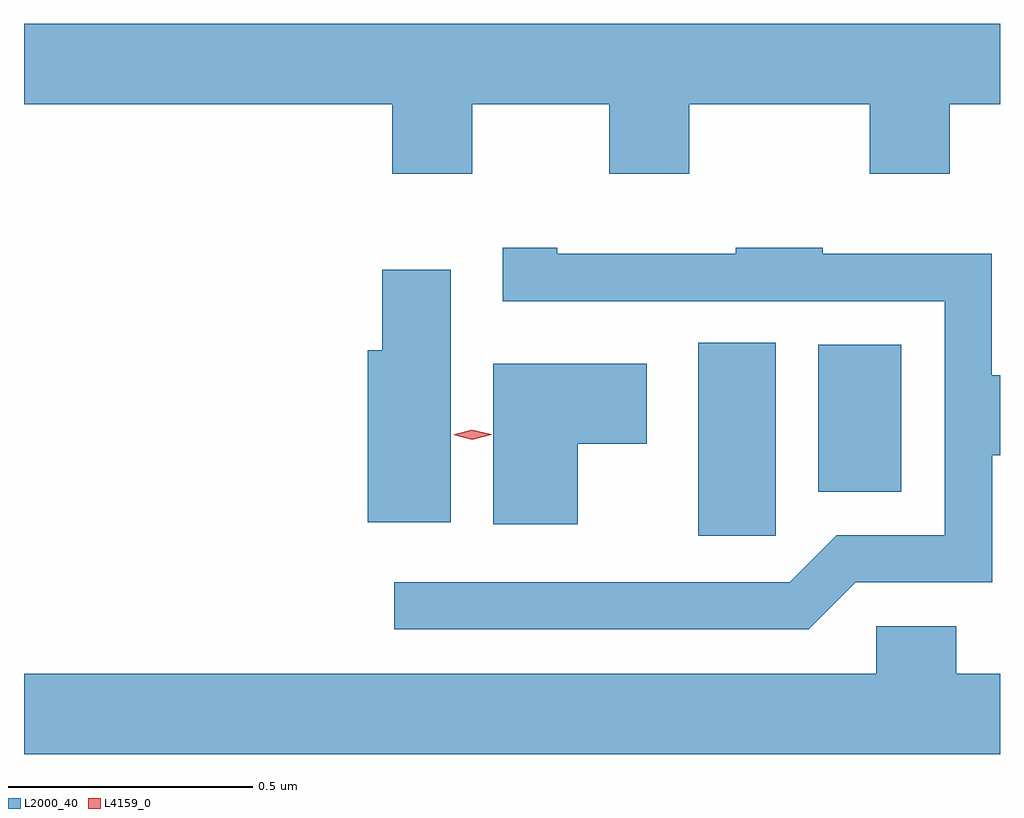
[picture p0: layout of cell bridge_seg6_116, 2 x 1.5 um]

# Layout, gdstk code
import gdstk
lib = gdstk.Library(unit=1e-6, precision=1e-09)
def R(c, l, rs):  # rectangles x0, y0, x1, y1
    for r in rs: c.add(gdstk.rectangle(r[:2], r[2:], *l))
def P(c, l, *ps):  # polygons
    for p in ps: c.add(gdstk.Polygon(p, *l))
L2000_40 = (2000, 40)
L4159_0 = (4159, 0)

bridge_seg6_116 = lib.new_cell('bridge_seg6_116')
R(bridge_seg6_116, L2000_40, [(459.254,985.079,459.412,985.475), (459.5,985.169,459.67,985.471)])
P(bridge_seg6_116, L2000_40, [(458.791,985.964),(459.071,985.964),(459.071,985.821),(459.235,985.821),(459.235,985.964),(459.605,985.964),(459.605,985.821),(459.769,985.821),(459.769,985.964),(459.872,985.964),(459.872,986.128),(457.872,986.128),(457.872,985.964),(458.627,985.964),(458.627,985.821),(458.791,985.821)],
  [(459.576,984.984),(459.856,984.984),(459.856,985.244),(459.872,985.244),(459.872,985.408),(459.855,985.408),(459.855,985.657),(459.509,985.657),(459.509,985.669),(459.331,985.669),(459.331,985.657),(458.965,985.657),(458.965,985.669),(458.853,985.669),(458.853,985.56),(459.759,985.56),(459.759,985.08),(459.537,985.08),(459.441,984.984),(458.631,984.984),(458.631,984.888),(459.48,984.888)],
  [(458.746,985.624),(458.606,985.624),(458.606,985.459),(458.576,985.459),(458.576,985.107),(458.746,985.107)],
  [(459.007,985.268),(459.148,985.268),(459.148,985.432),(458.834,985.432),(458.834,985.103),(459.007,985.103)],
  [(459.872,984.796),(459.782,984.796),(459.782,984.894),(459.618,984.894),(459.618,984.796),(457.872,984.796),(457.872,984.632),(459.872,984.632)])
P(bridge_seg6_116, L4159_0, [(458.791,985.276),(458.752,985.286),(458.751,985.286),(458.752,985.286),(458.79,985.296),(458.829,985.287),(458.83,985.286),(458.829,985.286)])

lib.write_gds('bridge_seg6_116.gds')
